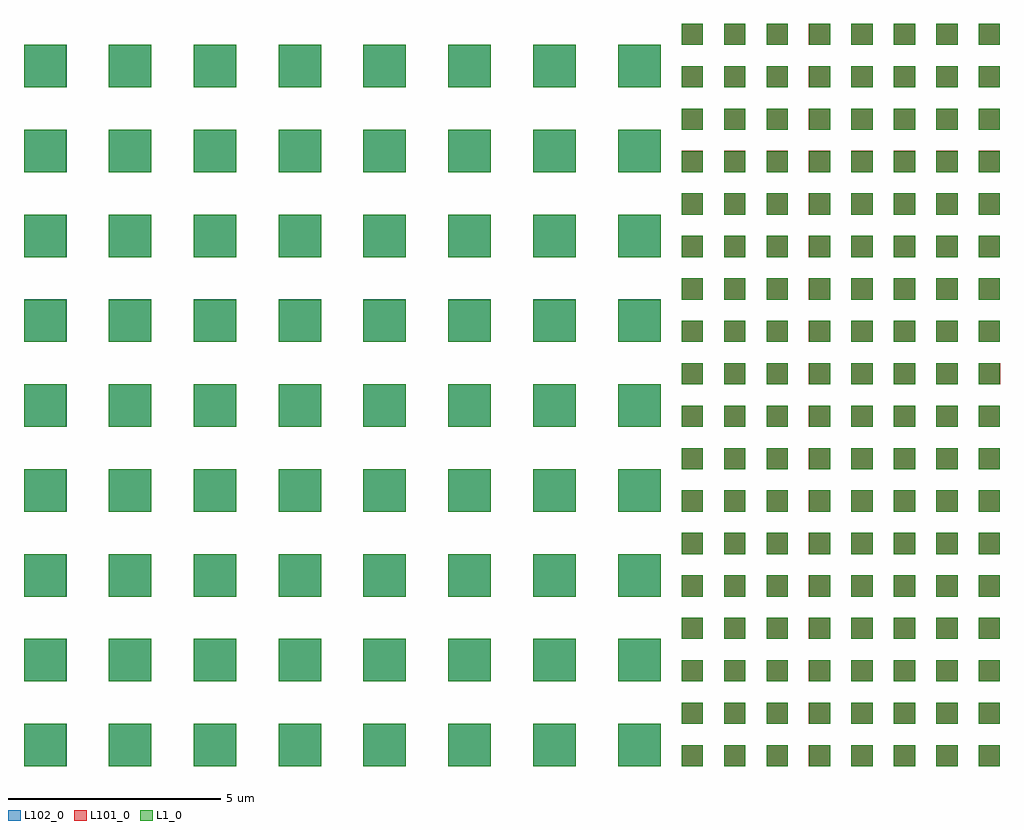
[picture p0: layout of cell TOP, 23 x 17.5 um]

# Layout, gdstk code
from math import pi, radians
import gdstk
lib = gdstk.Library(unit=1e-6, precision=1e-09)
def R(c, l, rs):  # rectangles x0, y0, x1, y1
    for r in rs: c.add(gdstk.rectangle(r[:2], r[2:], *l))
def A(c, l, x, y, w, h, nx, ny, dx, dy):  # array of equal rectangles
    R(c, l, [(x+i*dx, y+j*dy, x+i*dx+w, y+j*dy+h) for i in range(nx) for j in range(ny)])
L1_0 = (1, 0)
L101_0 = (101, 0)
L102_0 = (102, 0)

c_c1 = lib.new_cell('C1')
R(c_c1, L1_0, [(0,0,1,1), (0,2,1,3)])
c_c1.add(gdstk.Label('C1', (0.4,1.4), layer=1, texttype=0))

c_c2 = lib.new_cell('C2')
R(c_c2, L1_0, [(0,0,2,2), (0,4,2,6)])
c_c2.add(gdstk.Label('C2', (0.8,2.8), layer=1, texttype=0))

c_c4 = lib.new_cell('C4')
R(c_c4, L1_0, [(0,0,4,4), (0,8,4,12)])
c_c4.add(gdstk.Label('C4', (2,6), layer=1, texttype=0))

cc1 = lib.new_cell('CC1')
R(cc1, L1_0, [(4,4,5,5), (4,6,5,7)])
cc1.add(gdstk.Reference(c_c1, (0,0)))
cc1.add(gdstk.Reference(c_c1, (0,4)))
cc1.add(gdstk.Reference(c_c1, (6,4)))
cc1.add(gdstk.Reference(c_c1, (6,0)))
cc1.add(gdstk.Reference(c_c2, (2,0), magnification=0.5))
cc1.add(gdstk.Reference(c_c4, (4,0), magnification=0.25))
cc1.add(gdstk.Reference(c_c4, (2,4), magnification=0.25))
cc1.add(gdstk.Label('CC1', (3.4,3.4), layer=1, texttype=0))

cc2 = lib.new_cell('CC2')
A(cc2, L1_0, 0, 16, 1, 1, 8, 1, 2, 0)
cc2.add(gdstk.Reference(cc1, (0,0)))
cc2.add(gdstk.Reference(cc1, (0,8)))
cc2.add(gdstk.Reference(cc1, (15,0), rotation=pi, x_reflection=True))
cc2.add(gdstk.Reference(cc1, (15,15), rotation=3*pi/2, x_reflection=True))

c1_1 = lib.new_cell('C1$1')
R(c1_1, L101_0, [(-0.001,-0.001,1.001,1.001), (-0.001,-0.001,1.001,1.001), (-0.001,1.999,1.001,3.001), (-0.001,1.999,1.001,3.001)])
R(c1_1, L102_0, [(-0.001,-0.001,1.001,1.001), (-0.001,-0.001,1.001,1.001), (-0.001,1.999,1.001,3.001), (-0.001,1.999,1.001,3.001)])

c2_1 = lib.new_cell('C2$1')
A(c2_1, L101_0, 3.999, -0.001, 2.002, 2.002, 1, 3, 0, 4)
R(c2_1, L101_0, [(-0.001,-0.001,2.001,2.001), (-0.001,-0.001,2.001,2.001), (-0.001,3.999,2.001,6.001), (-0.001,3.999,2.001,6.001), (-0.001,7.999,2.001,10.001), (3.999,7.999,6.001,10.001), (3.999,11.999,6.001,14.001)])
R(c2_1, L102_0, [(-0.001,-0.001,2.001,2.001), (-0.001,-0.001,2.001,2.001), (3.999,-0.001,6.001,2.001), (3.999,-0.001,6.001,2.001), (-0.001,3.999,2.001,6.001), (-0.001,3.999,2.001,6.001), (3.999,3.999,6.001,6.001), (3.999,3.999,6.001,6.001), (-0.001,7.999,2.001,10.001), (-0.001,7.999,2.001,10.001), (3.999,7.999,6.001,10.001), (3.999,7.999,6.001,10.001), (3.999,11.999,6.001,14.001), (3.999,11.999,6.001,14.001)])

c4_1 = lib.new_cell('C4$1')
R(c4_1, L101_0, [(-0.001,-0.001,4.001,4.001), (-0.001,-0.001,4.001,4.001), (-0.001,7.999,4.001,12.001), (-0.001,7.999,4.001,12.001)])
R(c4_1, L102_0, [(-0.001,-0.001,4.001,4.001), (-0.001,-0.001,4.001,4.001), (-0.001,7.999,4.001,12.001), (-0.001,7.999,4.001,12.001)])

cc1_1 = lib.new_cell('CC1$1')
A(cc1_1, L101_0, 1.999, 1.999, 1.002, 1.002, 3, 1, 2, 0)
A(cc1_1, L101_0, -0.001, 3.999, 1.002, 1.002, 3, 1, 2, 0)
R(cc1_1, L101_0, [(1.999,-0.001,3.001,1.001), (3.999,-0.001,5.001,1.001), (3.999,3.999,5.001,5.001), (1.999,5.999,3.001,7.001), (3.999,5.999,5.001,7.001), (3.999,5.999,5.001,7.001)])
R(cc1_1, L102_0, [(1.999,-0.001,3.001,1.001), (1.999,-0.001,3.001,1.001), (3.999,-0.001,5.001,1.001), (3.999,-0.001,5.001,1.001), (1.999,1.999,3.001,3.001), (1.999,1.999,3.001,3.001), (3.999,1.999,5.001,3.001), (3.999,1.999,5.001,3.001), (5.999,1.999,7.001,3.001), (5.999,1.999,7.001,3.001), (-0.001,3.999,1.001,5.001), (-0.001,3.999,1.001,5.001), (1.999,3.999,3.001,5.001), (1.999,3.999,3.001,5.001), (3.999,3.999,5.001,5.001), (3.999,3.999,5.001,5.001), (1.999,5.999,3.001,7.001), (1.999,5.999,3.001,7.001), (3.999,5.999,5.001,7.001), (3.999,5.999,5.001,7.001)])
cc1_1.add(gdstk.Reference(c1_1, (0,0)))
cc1_1.add(gdstk.Reference(c1_1, (0,4)))
cc1_1.add(gdstk.Reference(c1_1, (6,4)))
cc1_1.add(gdstk.Reference(c1_1, (6,0)))
cc1_1.add(gdstk.Reference(c2_1, (2,0), magnification=0.5))
cc1_1.add(gdstk.Reference(c4_1, (4,0), magnification=0.25))
cc1_1.add(gdstk.Reference(c4_1, (2,4), magnification=0.25))

cc2_1 = lib.new_cell('CC2$1')
A(cc2_1, L101_0, 7.999, -0.001, 1.002, 1.002, 1, 4, 0, 2)
A(cc2_1, L101_0, -0.001, 7.999, 1.002, 1.002, 5, 1, 2, 0)
A(cc2_1, L101_0, 7.999, 7.999, 1.002, 1.002, 4, 1, 2, 0)
A(cc2_1, L101_0, 7.999, 9.999, 1.002, 1.002, 1, 4, 0, 2)
R(cc2_1, L101_0, [(-0.001,15.999,1.001,17.001), (-0.001,15.999,1.001,17.001), (1.999,15.999,3.001,17.001), (1.999,15.999,3.001,17.001), (3.999,15.999,5.001,17.001), (3.999,15.999,5.001,17.001), (5.999,15.999,7.001,17.001), (5.999,15.999,7.001,17.001), (7.999,15.999,9.001,17.001), (7.999,15.999,9.001,17.001), (9.999,15.999,11.001,17.001), (9.999,15.999,11.001,17.001), (9.999,15.999,11.001,17.001), (11.999,15.999,13.001,17.001), (11.999,15.999,13.001,17.001), (11.999,15.999,13.001,17.001), (13.999,15.999,15.001,17.001), (13.999,15.999,15.001,17.001), (13.999,15.999,15.001,17.001)])
R(cc2_1, L102_0, [(7.999,-0.001,9.001,1.001), (7.999,-0.001,9.001,1.001), (7.999,1.999,9.001,3.001), (7.999,1.999,9.001,3.001), (7.999,3.999,9.001,5.001), (7.999,3.999,9.001,5.001), (7.999,5.999,9.001,7.001), (7.999,5.999,9.001,7.001), (-0.001,7.999,1.001,9.001), (-0.001,7.999,1.001,9.001), (1.999,7.999,3.001,9.001), (1.999,7.999,3.001,9.001), (3.999,7.999,5.001,9.001), (3.999,7.999,5.001,9.001), (5.999,7.999,7.001,9.001), (5.999,7.999,7.001,9.001), (7.999,7.999,9.001,9.001), (7.999,7.999,9.001,9.001), (7.999,7.999,9.001,9.001), (9.999,7.999,11.001,9.001), (9.999,7.999,11.001,9.001), (11.999,7.999,13.001,9.001), (11.999,7.999,13.001,9.001), (13.999,7.999,15.001,9.001), (13.999,7.999,15.001,9.001), (7.999,9.999,9.001,11.001), (7.999,9.999,9.001,11.001), (7.999,11.999,9.001,13.001), (7.999,11.999,9.001,13.001), (7.999,13.999,9.001,15.001), (7.999,13.999,9.001,15.001), (-0.001,15.999,1.001,17.001), (-0.001,15.999,1.001,17.001), (1.999,15.999,3.001,17.001), (1.999,15.999,3.001,17.001), (3.999,15.999,5.001,17.001), (3.999,15.999,5.001,17.001), (5.999,15.999,7.001,17.001), (5.999,15.999,7.001,17.001), (5.999,15.999,7.001,17.001), (5.999,15.999,7.001,17.001), (7.999,15.999,9.001,17.001), (7.999,15.999,9.001,17.001), (7.999,15.999,9.001,17.001), (7.999,15.999,9.001,17.001), (9.999,15.999,11.001,17.001), (9.999,15.999,11.001,17.001), (9.999,15.999,11.001,17.001), (9.999,15.999,11.001,17.001), (11.999,15.999,13.001,17.001), (11.999,15.999,13.001,17.001), (11.999,15.999,13.001,17.001), (11.999,15.999,13.001,17.001), (13.999,15.999,15.001,17.001), (13.999,15.999,15.001,17.001), (13.999,15.999,15.001,17.001), (13.999,15.999,15.001,17.001)])
cc2_1.add(gdstk.Reference(cc1_1, (0,0)))
cc2_1.add(gdstk.Reference(cc1_1, (0,8)))
cc2_1.add(gdstk.Reference(cc1_1, (15,0), rotation=pi, x_reflection=True))
cc2_1.add(gdstk.Reference(cc1_1, (15,15), rotation=3*pi/2, x_reflection=True))

c4_var1 = lib.new_cell('C4$VAR1')
R(c4_var1, L102_0, [(-0.001,-0.001,4.001,4.001), (-0.001,-0.001,4.001,4.001), (-0.001,7.999,4.001,12.001), (-0.001,7.999,4.001,12.001)])

c2_var1 = lib.new_cell('C2$VAR1')
R(c2_var1, L102_0, [(-0.001,-0.001,2.001,2.001), (-0.001,-0.001,2.001,2.001), (3.999,-0.001,6.001,2.001), (-0.001,3.999,2.001,6.001), (-0.001,3.999,2.001,6.001), (3.999,3.999,6.001,6.001), (-0.001,7.999,2.001,10.001)])

c1_var1 = lib.new_cell('C1$VAR1')
R(c1_var1, L102_0, [(-0.001,-0.001,1.001,1.001), (-0.001,-0.001,1.001,1.001), (-0.001,1.999,1.001,3.001), (-0.001,1.999,1.001,3.001)])

cc1_var1 = lib.new_cell('CC1$VAR1')
A(cc1_var1, L102_0, 1.999, 1.999, 1.002, 1.002, 3, 1, 2, 0)
A(cc1_var1, L102_0, -0.001, 3.999, 1.002, 1.002, 3, 1, 2, 0)
R(cc1_var1, L102_0, [(1.999,-0.001,3.001,1.001), (3.999,-0.001,5.001,1.001), (3.999,3.999,5.001,5.001), (1.999,5.999,3.001,7.001), (3.999,5.999,5.001,7.001), (3.999,5.999,5.001,7.001)])
cc1_var1.add(gdstk.Reference(c4_var1, (4,0), magnification=0.25))
cc1_var1.add(gdstk.Reference(c4_var1, (2,4), magnification=0.25))
cc1_var1.add(gdstk.Reference(c2_var1, (2,0), magnification=0.5))
cc1_var1.add(gdstk.Reference(c1_var1, (0,0)))
cc1_var1.add(gdstk.Reference(c1_var1, (0,4)))
cc1_var1.add(gdstk.Reference(c1_var1, (6,4)))
cc1_var1.add(gdstk.Reference(c1_var1, (6,0)))

cc2_var1 = lib.new_cell('CC2$VAR1')
A(cc2_var1, L102_0, 7.999, -0.001, 1.002, 1.002, 1, 4, 0, 2)
A(cc2_var1, L102_0, -0.001, 7.999, 1.002, 1.002, 5, 1, 2, 0)
A(cc2_var1, L102_0, 7.999, 7.999, 1.002, 1.002, 4, 1, 2, 0)
A(cc2_var1, L102_0, 7.999, 9.999, 1.002, 1.002, 1, 4, 0, 2)
R(cc2_var1, L102_0, [(-0.001,15.999,1.001,17.001), (-0.001,15.999,1.001,17.001), (1.999,15.999,3.001,17.001), (1.999,15.999,3.001,17.001), (3.999,15.999,5.001,17.001), (3.999,15.999,5.001,17.001), (5.999,15.999,7.001,17.001), (5.999,15.999,7.001,17.001), (7.999,15.999,9.001,17.001), (7.999,15.999,9.001,17.001), (9.999,15.999,11.001,17.001), (9.999,15.999,11.001,17.001), (9.999,15.999,11.001,17.001), (11.999,15.999,13.001,17.001), (11.999,15.999,13.001,17.001), (11.999,15.999,13.001,17.001), (13.999,15.999,15.001,17.001), (13.999,15.999,15.001,17.001), (13.999,15.999,15.001,17.001)])
cc2_var1.add(gdstk.Reference(cc1_var1, (0,0)))
cc2_var1.add(gdstk.Reference(cc1_var1, (0,8)))
cc2_var1.add(gdstk.Reference(cc1_var1, (15,0), rotation=pi, x_reflection=True))
cc2_var1.add(gdstk.Reference(cc1_var1, (15,15), rotation=3*pi/2, x_reflection=True))

top = lib.new_cell('TOP')
A(top, L101_0, 15.499, 8.999, 0.502, 0.502, 8, 1, 1, 0)
A(top, L102_0, 13.999, -0.001, 1.002, 1.002, 1, 9, 0, 2)
R(top, L102_0, [(15.499,8.999,16.001,9.501), (15.499,8.999,16.001,9.501), (16.499,8.999,17.001,9.501), (16.499,8.999,17.001,9.501), (17.499,8.999,18.001,9.501), (17.499,8.999,18.001,9.501), (18.499,8.999,19.001,9.501), (18.499,8.999,19.001,9.501), (19.499,8.999,20.001,9.501), (19.499,8.999,20.001,9.501), (20.499,8.999,21.001,9.501), (20.499,8.999,21.001,9.501), (21.499,8.999,22.001,9.501), (21.499,8.999,22.001,9.501), (22.499,8.999,23.001,9.501), (22.499,8.999,23.001,9.501)])
top.add(gdstk.Reference(cc2, (0,0)))
top.add(gdstk.Reference(cc2, (15.5,0), magnification=0.5))
top.add(gdstk.Reference(cc2, (15.5,9), magnification=0.5))
top.add(gdstk.Reference(cc2_1, (15.5,0), magnification=0.5))
top.add(gdstk.Reference(cc2_1, (15.5,9), magnification=0.5))
top.add(gdstk.Reference(cc2_var1, (0,0)))

lib.write_gds('TOP.gds')
